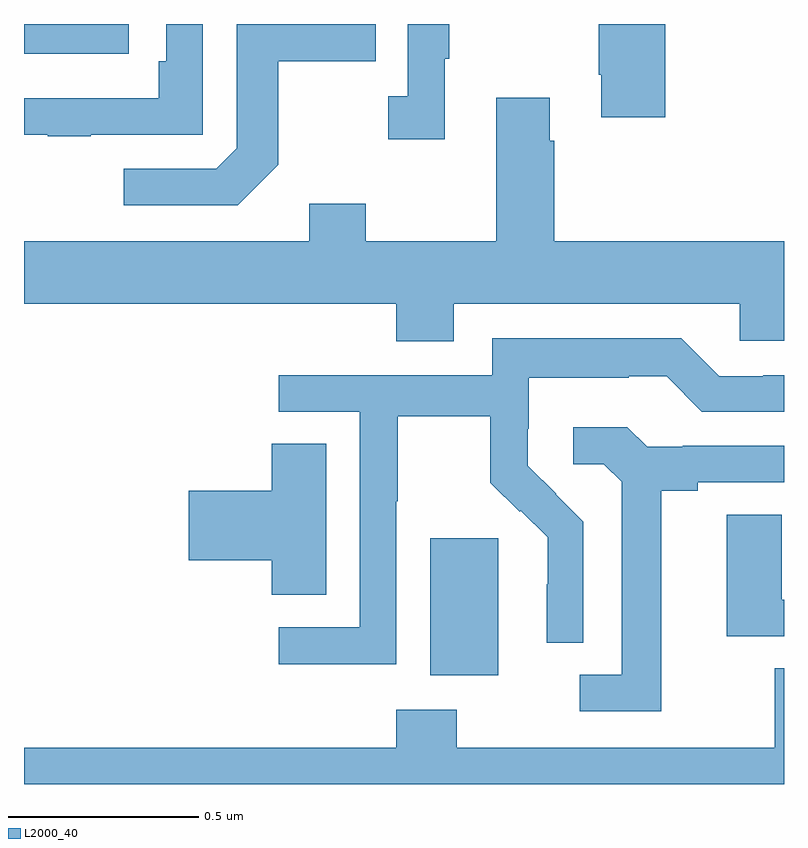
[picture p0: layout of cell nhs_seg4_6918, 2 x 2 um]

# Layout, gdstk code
import gdstk
lib = gdstk.Library(unit=1e-6, precision=1e-09)
def R(c, l, rs):  # rectangles x0, y0, x1, y1
    for r in rs: c.add(gdstk.rectangle(r[:2], r[2:], *l))
def P(c, l, *ps):  # polygons
    for p in ps: c.add(gdstk.Polygon(p, *l))
L2000_40 = (2000, 40)

nhs_seg4_6918 = lib.new_cell('nhs_seg4_6918')
R(nhs_seg4_6918, L2000_40, [(197.069,785.186,197.248,785.547), (196,786.822,196.276,786.9)])
P(nhs_seg4_6918, L2000_40, [(197.687,786.9),(197.512,786.9),(197.512,786.766),(197.519,786.766),(197.519,786.654),(197.687,786.654)],
  [(197.107,786.809),(197.119,786.809),(197.119,786.9),(197.01,786.9),(197.01,786.71),(196.959,786.71),(196.959,786.597),(197.107,786.597)],
  [(196.175,786.609),(196.47,786.609),(196.47,786.9),(196.374,786.9),(196.374,786.802),(196.354,786.802),(196.354,786.705),(196,786.705),(196,786.609),(196.063,786.609),(196.063,786.604),(196.175,786.604)],
  [(196.669,786.529),(196.669,786.802),(196.925,786.802),(196.925,786.9),(196.56,786.9),(196.56,786.573),(196.506,786.519),(196.263,786.519),(196.263,786.423),(196.563,786.423)],
  [(197.131,786.164),(197.883,786.164),(197.883,786.066),(198,786.066),(198,786.328),(197.396,786.328),(197.396,786.593),(197.383,786.593),(197.383,786.706),(197.243,786.706),(197.243,786.328),(196.899,786.328),(196.899,786.427),(196.751,786.427),(196.751,786.328),(196,786.328),(196,786.164),(196.979,786.164),(196.979,786.065),(197.131,786.065)],
  [(196.98,785.644),(196.983,785.644),(196.983,785.868),(197.227,785.868),(197.227,785.693),(197.304,785.616),(197.307,785.619),(197.378,785.549),(197.378,785.426),(197.376,785.426),(197.376,785.272),(197.472,785.272),(197.472,785.59),(197.399,785.663),(197.4,785.664),(197.326,785.738),(197.326,785.835),(197.328,785.835),(197.328,785.969),(197.591,785.969),(197.591,785.973),(197.691,785.973),(197.784,785.88),(198,785.88),(198,785.976),(197.945,785.976),(197.945,785.973),(197.829,785.973),(197.729,786.073),(197.232,786.073),(197.232,785.976),(196.671,785.976),(196.671,785.88),(196.884,785.88),(196.884,785.313),(196.671,785.313),(196.671,785.215),(196.98,785.215)],
  [(197.677,785.672),(197.773,785.672),(197.773,785.694),(198,785.694),(198,785.79),(197.734,785.79),(197.734,785.787),(197.64,785.787),(197.588,785.839),(197.445,785.839),(197.445,785.742),(197.526,785.742),(197.573,785.695),(197.573,785.187),(197.463,785.187),(197.463,785.091),(197.677,785.091)],
  [(196.795,785.795),(196.652,785.795),(196.652,785.672),(196.434,785.672),(196.434,785.489),(196.652,785.489),(196.652,785.398),(196.795,785.398)],
  [(198,785.385),(197.994,785.385),(197.994,785.609),(197.849,785.609),(197.849,785.289),(198,785.289)],
  [(198,785.204),(197.975,785.204),(197.975,784.996),(197.139,784.996),(197.139,785.095),(196.979,785.095),(196.979,784.996),(196,784.996),(196,784.9),(198,784.9)])

lib.write_gds('nhs_seg4_6918.gds')
